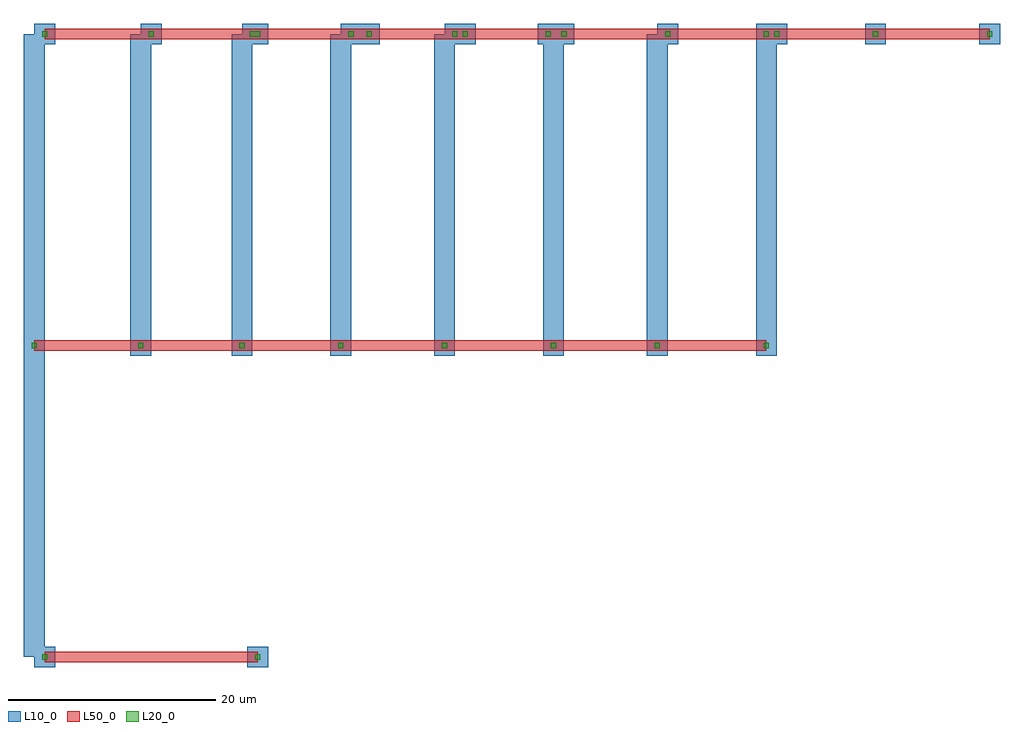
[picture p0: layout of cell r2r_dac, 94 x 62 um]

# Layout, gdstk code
import gdstk
lib = gdstk.Library(unit=1e-6, precision=1e-09)
def R(c, l, rs):  # rectangles x0, y0, x1, y1
    for r in rs: c.add(gdstk.rectangle(r[:2], r[2:], *l))
L10_0 = (10, 0)
L20_0 = (20, 0)
L50_0 = (50, 0)

r_sp0 = lib.new_cell('R_sp0')
R(r_sp0, L10_0, [(-1,-0.5,1,1.5), (9.25,-0.5,11.25,1.5)])
R(r_sp0, L20_0, [(-0.25,0.25,0.25,0.75), (10,0.25,10.5,0.75)])
R(r_sp0, L50_0, [(0,0,10.25,1)])

r_sp1 = lib.new_cell('R_sp1')
R(r_sp1, L10_0, [(-1,-0.5,1,1.5), (8.75,-0.5,10.75,1.5)])
R(r_sp1, L20_0, [(-0.25,0.25,0.25,0.75), (9.5,0.25,10,0.75)])
R(r_sp1, L50_0, [(0,0,9.75,1)])

r_sp2 = lib.new_cell('R_sp2')
R(r_sp2, L10_0, [(-1,-0.5,1,1.5), (8.5,-0.5,10.5,1.5)])
R(r_sp2, L20_0, [(-0.25,0.25,0.25,0.75), (9.25,0.25,9.75,0.75)])
R(r_sp2, L50_0, [(0,0,9.5,1)])

r_sp3 = lib.new_cell('R_sp3')
R(r_sp3, L10_0, [(-1,-0.5,1,1.5), (9,-0.5,11,1.5)])
R(r_sp3, L20_0, [(-0.25,0.25,0.25,0.75), (9.75,0.25,10.25,0.75)])
R(r_sp3, L50_0, [(0,0,10,1)])

r_sp4 = lib.new_cell('R_sp4')
R(r_sp4, L10_0, [(-1,-0.5,1,1.5), (9.5,-0.5,11.5,1.5)])
R(r_sp4, L20_0, [(-0.25,0.25,0.25,0.75), (10.25,0.25,10.75,0.75)])
R(r_sp4, L50_0, [(0,0,10.5,1)])

r_term = lib.new_cell('R_term')
R(r_term, L10_0, [(-1,-0.5,1,1.5), (19.5,-0.5,21.5,1.5)])
R(r_term, L20_0, [(-0.25,0.25,0.25,0.75), (20.25,0.25,20.75,0.75)])
R(r_term, L50_0, [(0,0,20.5,1)])

r_in1 = lib.new_cell('R_in1')
R(r_in1, L10_0, [(-1,-0.5,1,1.5), (20,-0.5,22,1.5)])
R(r_in1, L20_0, [(-0.25,0.25,0.25,0.75), (20.75,0.25,21.25,0.75)])
R(r_in1, L50_0, [(0,0,21,1)])

r_in3 = lib.new_cell('R_in3')
R(r_in3, L10_0, [(-1,-0.5,1,1.5), (18,-0.5,20,1.5)])
R(r_in3, L20_0, [(-0.25,0.25,0.25,0.75), (18.75,0.25,19.25,0.75)])
R(r_in3, L50_0, [(0,0,19,1)])

r_in5 = lib.new_cell('R_in5')
R(r_in5, L10_0, [(-1,-0.5,1,1.5), (18.5,-0.5,20.5,1.5)])
R(r_in5, L20_0, [(-0.25,0.25,0.25,0.75), (19.25,0.25,19.75,0.75)])
R(r_in5, L50_0, [(0,0,19.5,1)])

r_in6 = lib.new_cell('R_in6')
R(r_in6, L10_0, [(-1,-0.5,1,1.5), (19,-0.5,21,1.5)])
R(r_in6, L20_0, [(-0.25,0.25,0.25,0.75), (19.75,0.25,20.25,0.75)])
R(r_in6, L50_0, [(0,0,20,1)])

r2r_dac = lib.new_cell('r2r_dac')
R(r2r_dac, L10_0, [(-1,-29.5,1,0.5), (-1,0.5,1,30.5), (9.25,0.5,11.25,30.5), (19,0.5,21,30.5), (28.5,0.5,30.5,30.5), (38.5,0.5,40.5,30.5), (49,0.5,51,30.5), (59,0.5,61,30.5), (69.5,0.5,71.5,30.5)])
r2r_dac.add(gdstk.Reference(r_sp0, (0,0)))
r2r_dac.add(gdstk.Reference(r_sp1, (10.25,0)))
r2r_dac.add(gdstk.Reference(r_sp2, (20,0)))
r2r_dac.add(gdstk.Reference(r_sp3, (29.5,0)))
r2r_dac.add(gdstk.Reference(r_sp4, (39.5,0)))
r2r_dac.add(gdstk.Reference(r_sp3, (50,0)))
r2r_dac.add(gdstk.Reference(r_sp4, (60,0)))
r2r_dac.add(gdstk.Reference(r_term, (1,30)))
r2r_dac.add(gdstk.Reference(r_in1, (11.25,30)))
r2r_dac.add(gdstk.Reference(r_term, (21,30)))
r2r_dac.add(gdstk.Reference(r_in3, (30.5,30)))
r2r_dac.add(gdstk.Reference(r_term, (40.5,30)))
r2r_dac.add(gdstk.Reference(r_in5, (51,30)))
r2r_dac.add(gdstk.Reference(r_in6, (61,30)))
r2r_dac.add(gdstk.Reference(r_term, (71.5,30)))
r2r_dac.add(gdstk.Reference(r_term, (1,-30)))

lib.write_gds('r2r_dac.gds')
